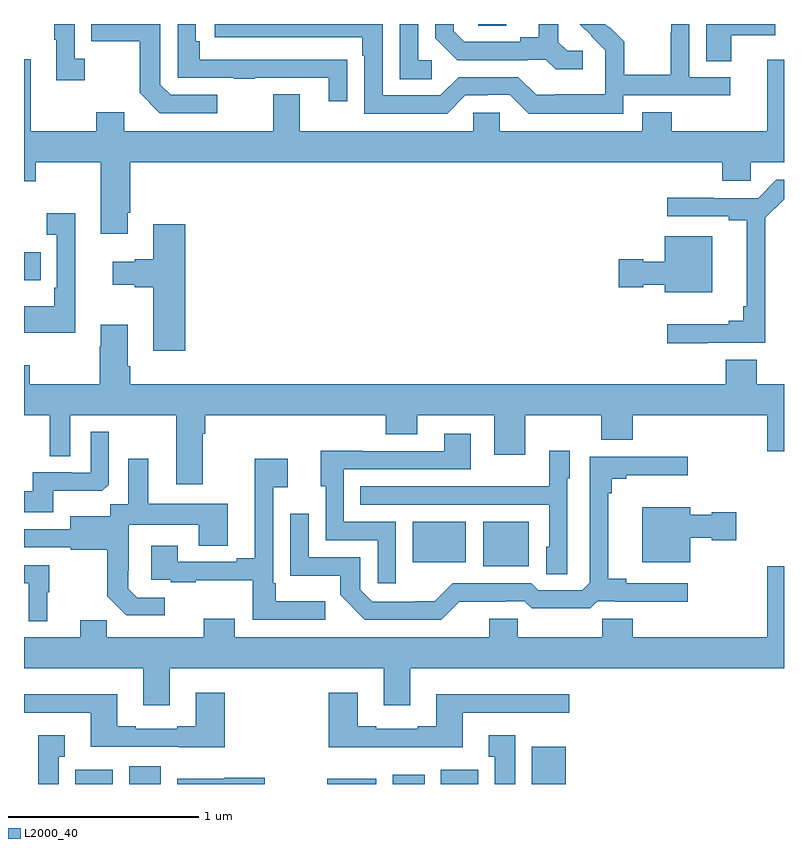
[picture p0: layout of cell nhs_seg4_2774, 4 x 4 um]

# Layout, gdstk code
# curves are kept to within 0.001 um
import gdstk
lib = gdstk.Library(unit=1e-6, precision=1e-09)
def R(c, l, rs):  # rectangles x0, y0, x1, y1
    for r in rs: c.add(gdstk.rectangle(r[:2], r[2:], *l))
def P(c, l, *ps):  # polygons
    for p in ps: c.add(gdstk.Polygon(p, *l))
L2000_40 = (2000, 40)

nhs_seg4_2774 = lib.new_cell('nhs_seg4_2774')
R(nhs_seg4_2774, L2000_40, [(257.27,774.9,257.467,774.976), (257.555,774.9,257.719,774.994), (258.595,774.9,258.853,774.928), (258.941,774.9,259.108,774.949), (259.193,774.9,259.39,774.976), (259.673,774.9,259.852,775.096), (259.418,776.045,259.657,776.281), (259.046,776.066,259.324,776.281), (257,777.551,257.087,777.699), (259.392,778.891,259.537,778.9)])
P(nhs_seg4_2774, L2000_40, [(260.154,778.524),(260.716,778.524),(260.716,778.62),(260.502,778.62),(260.502,778.9),(260.406,778.9),(260.406,778.856),(260.404,778.856),(260.404,778.633),(260.159,778.633),(260.159,778.807),(260.082,778.884),(260.079,778.881),(260.06,778.9),(259.924,778.9),(260.06,778.762),(260.06,778.665),(260.058,778.665),(260.058,778.531),(259.795,778.531),(259.795,778.527),(259.695,778.527),(259.602,778.62),(259.287,778.62),(259.191,778.524),(258.888,778.524),(258.888,778.9),(258.003,778.9),(258.003,778.83),(258.779,778.83),(258.779,778.733),(258.792,778.733),(258.792,778.428),(259.227,778.428),(259.323,778.524),(259.442,778.524),(259.442,778.527),(259.557,778.527),(259.657,778.427),(260.154,778.427)],
  [(257.32,778.718),(257.268,778.718),(257.268,778.9),(257.16,778.9),(257.16,778.817),(257.171,778.817),(257.171,778.605),(257.32,778.605)],
  [(260.722,778.841),(260.953,778.841),(260.953,778.9),(260.591,778.9),(260.591,778.705),(260.722,778.705)],
  [(258.016,778.527),(257.772,778.527),(257.718,778.581),(257.718,778.9),(257.353,778.9),(257.353,778.81),(257.61,778.81),(257.61,778.537),(257.715,778.431),(258.016,778.431)],
  [(259.942,778.758),(259.86,778.758),(259.813,778.805),(259.813,778.9),(259.709,778.9),(259.709,778.829),(259.613,778.829),(259.613,778.806),(259.318,778.806),(259.261,778.863),(259.261,778.9),(259.164,778.9),(259.164,778.826),(259.28,778.71),(259.652,778.71),(259.652,778.713),(259.746,778.713),(259.798,778.661),(259.942,778.661)],
  [(258.701,778.712),(258.599,778.712),(258.599,778.713),(257.924,778.713),(257.924,778.81),(257.904,778.81),(257.904,778.9),(257.808,778.9),(257.808,778.617),(258.103,778.617),(258.103,778.612),(258.215,778.612),(258.215,778.617),(258.605,778.617),(258.605,778.494),(258.701,778.494)],
  [(259.147,778.71),(259.074,778.71),(259.074,778.9),(258.978,778.9),(258.978,778.609),(259.147,778.609)],
  [(257.545,777.907),(257.558,777.907),(257.558,778.172),(260.675,778.172),(260.675,778.074),(260.826,778.074),(260.826,778.172),(261,778.172),(261,778.711),(260.912,778.711),(260.912,778.336),(260.408,778.336),(260.408,778.435),(260.255,778.435),(260.255,778.336),(259.503,778.336),(259.503,778.434),(259.365,778.434),(259.365,778.336),(258.451,778.336),(258.451,778.531),(258.311,778.531),(258.311,778.336),(257.527,778.336),(257.527,778.435),(257.38,778.435),(257.38,778.336),(257.035,778.336),(257.035,778.714),(257,778.714),(257,778.073),(257.061,778.073),(257.061,778.172),(257.405,778.172),(257.405,777.795),(257.545,777.795)],
  [(260.597,777.222),(260.901,777.222),(260.901,777.879),(261,777.978),(261,778.08),(260.96,778.08),(260.864,777.984),(260.631,777.984),(260.631,777.986),(260.385,777.986),(260.385,777.888),(260.708,777.888),(260.708,777.868),(260.804,777.868),(260.804,777.415),(260.785,777.415),(260.785,777.338),(260.708,777.338),(260.708,777.319),(260.385,777.319),(260.385,777.221)],
  [(257.27,777.904),(257.121,777.904),(257.121,777.791),(257.172,777.791),(257.172,777.511),(257.16,777.511),(257.16,777.415),(257,777.415),(257,777.275),(257.27,777.275)],
  [(257.849,777.847),(257.681,777.847),(257.681,777.662),(257.582,777.662),(257.582,777.649),(257.466,777.649),(257.466,777.527),(257.582,777.527),(257.582,777.515),(257.681,777.515),(257.681,777.18),(257.849,777.18)],
  [(260.623,777.784),(260.372,777.784),(260.372,777.649),(260.259,777.649),(260.259,777.662),(260.13,777.662),(260.13,777.515),(260.259,777.515),(260.259,777.527),(260.372,777.527),(260.372,777.488),(260.623,777.488)],
  [(257.941,776.744),(257.954,776.744),(257.954,776.84),(258.905,776.84),(258.905,776.741),(259.069,776.741),(259.069,776.84),(259.475,776.84),(259.475,776.634),(259.639,776.634),(259.639,776.84),(260.039,776.84),(260.039,776.712),(260.203,776.712),(260.203,776.84),(260.912,776.84),(260.912,776.652),(261,776.652),(261,777.004),(260.857,777.004),(260.857,777.133),(260.693,777.133),(260.693,777.004),(257.558,777.004),(257.558,777.1),(257.545,777.1),(257.545,777.316),(257.405,777.316),(257.405,777.203),(257.398,777.203),(257.398,777.004),(257.031,777.004),(257.031,777.103),(257,777.103),(257,776.84),(257.136,776.84),(257.136,776.626),(257.244,776.626),(257.244,776.84),(257.801,776.84),(257.801,776.478),(257.941,776.478)],
  [(257.154,776.444),(257.413,776.444),(257.445,776.475),(257.445,776.755),(257.352,776.755),(257.352,776.538),(257.252,776.538),(257.252,776.541),(257.045,776.541),(257.045,776.44),(257,776.44),(257,776.331),(257.154,776.331)],
  [(258.957,776.28),(258.684,776.28),(258.684,776.556),(259.351,776.556),(259.351,776.743),(259.211,776.743),(259.211,776.652),(258.781,776.652),(258.781,776.654),(258.563,776.654),(258.563,776.466),(258.588,776.466),(258.588,776.184),(258.861,776.184),(258.861,775.956),(258.957,775.956)],
  [(259.86,776.508),(259.873,776.508),(259.873,776.653),(259.764,776.653),(259.764,776.467),(259.447,776.467),(259.447,776.466),(258.769,776.466),(258.769,776.37),(259.764,776.37),(259.764,776.148),(259.748,776.148),(259.748,776.005),(259.86,776.005)],
  [(259.291,775.859),(259.532,775.859),(259.532,775.863),(259.632,775.863),(259.672,775.824),(259.979,775.824),(260.019,775.863),(260.113,775.863),(260.113,775.859),(260.494,775.859),(260.494,775.956),(260.17,775.956),(260.17,775.979),(260.075,775.979),(260.075,776.429),(260.093,776.429),(260.093,776.506),(260.17,776.506),(260.17,776.525),(260.494,776.525),(260.494,776.622),(259.977,776.622),(259.977,775.959),(259.938,775.92),(259.707,775.92),(259.671,775.956),(259.257,775.956),(259.163,775.862),(259.058,775.862),(259.058,775.86),(258.834,775.86),(258.771,775.923),(258.771,776.094),(258.498,776.094),(258.498,776.323),(258.402,776.323),(258.402,775.997),(258.664,775.997),(258.664,775.895),(258.794,775.764),(259.197,775.764)],
  [(258.586,775.861),(258.325,775.861),(258.325,775.957),(258.312,775.957),(258.312,776.462),(258.388,776.462),(258.388,776.611),(258.215,776.611),(258.215,776.089),(258.119,776.089),(258.119,776.07),(257.809,776.07),(257.809,776.155),(257.669,776.155),(257.669,775.974),(257.773,775.974),(257.773,775.962),(257.905,775.962),(257.905,775.973),(258.204,775.973),(258.204,775.764),(258.586,775.764)],
  [(257.74,775.881),(257.595,775.881),(257.548,775.928),(257.548,776.023),(257.55,776.023),(257.55,776.264),(257.921,776.264),(257.921,776.155),(258.073,776.155),(258.073,776.374),(257.653,776.374),(257.653,776.611),(257.549,776.611),(257.549,776.372),(257.454,776.372),(257.454,776.308),(257.243,776.308),(257.243,776.241),(257,776.241),(257,776.145),(257.247,776.145),(257.247,776.133),(257.439,776.133),(257.439,775.887),(257.539,775.787),(257.74,775.787)],
  [(260.506,776.195),(260.619,776.195),(260.619,776.183),(260.749,776.183),(260.749,776.33),(260.619,776.33),(260.619,776.317),(260.506,776.317),(260.506,776.356),(260.255,776.356),(260.255,776.066),(260.506,776.066)],
  [(257.122,775.908),(257.134,775.908),(257.134,776.052),(257,776.052),(257,775.956),(257.024,775.956),(257.024,775.757),(257.122,775.757)],
  [(257.767,775.508),(258.893,775.508),(258.893,775.314),(259.033,775.314),(259.033,775.508),(261,775.508),(261,776.047),(260.912,776.047),(260.912,775.672),(260.204,775.672),(260.204,775.77),(260.044,775.77),(260.044,775.672),(259.599,775.672),(259.599,775.77),(259.448,775.77),(259.448,775.672),(258.109,775.672),(258.109,775.771),(257.945,775.771),(257.945,775.672),(257.435,775.672),(257.435,775.763),(257.297,775.763),(257.297,775.672),(257,775.672),(257,775.508),(257.627,775.508),(257.627,775.314),(257.767,775.314)],
  [(258.056,775.381),(257.903,775.381),(257.903,775.204),(257.807,775.204),(257.807,775.191),(257.587,775.191),(257.587,775.204),(257.491,775.204),(257.491,775.372),(257,775.372),(257,775.275),(257.351,775.275),(257.351,775.095),(257.815,775.095),(257.815,775.094),(258.056,775.094)],
  [(259.309,775.275),(259.87,775.275),(259.87,775.372),(259.169,775.372),(259.169,775.204),(259.073,775.204),(259.073,775.191),(258.853,775.191),(258.853,775.204),(258.757,775.204),(258.757,775.381),(258.605,775.381),(258.605,775.094),(259.309,775.094)],
  [(259.585,775.156),(259.445,775.156),(259.445,775.043),(259.478,775.043),(259.478,774.9),(259.585,774.9)],
  [(257.182,775.043),(257.215,775.043),(257.215,775.156),(257.075,775.156),(257.075,774.9),(257.182,774.9)],
  [(258.267,774.932),(258.054,774.932),(258.054,774.928),(257.807,774.928),(257.807,774.9),(258.267,774.9)])

lib.write_gds('nhs_seg4_2774.gds')
